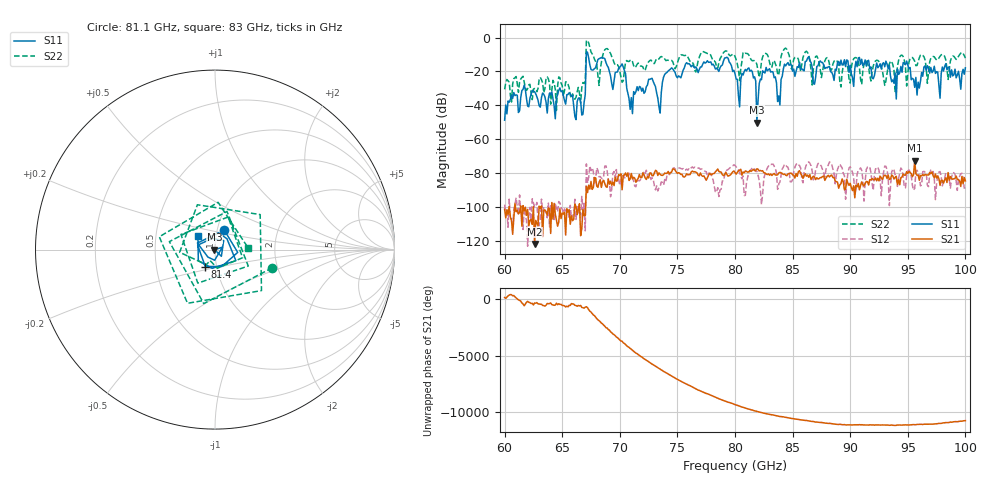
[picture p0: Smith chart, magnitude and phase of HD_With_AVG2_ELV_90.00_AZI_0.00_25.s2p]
! 11/25/2026 10:22:29 AM
! C:\ANRITSUVNA\TEMP\TEMP.S2P
! CHANNEL.1
! TR.MEASUREMENT
! RAW.DATA
# HZ S RI R 50.0
! FREQ.HZ  S11RE  S11IM  S21RE  S21IM  S12RE  S12IM  S22RE  S22IM
!; PortSelection: Port_12
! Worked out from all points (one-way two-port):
!   401 points, 60 GHz to 100 GHz, reference 50 ohm
!   highest |S21| = -72.68 dB at 95.6 GHz (marker M1); lowest = -121.7 dB at 62.6 GHz (marker M2)
!   lowest |S11| = -50.1 dB at 81.9 GHz (marker M3), VSWR 1.01, Z = 49.7 + j0.0194 ohm
!   |S11| at or under -10 dB: start of sweep to 67.09 GHz; 67.24 GHz to end of sweep
!   |S22| runs from -42.9 to -1.7 dB; largest |S21 - S12| = 0.00029
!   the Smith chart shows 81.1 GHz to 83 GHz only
!   S11 on the Smith chart (normalised r, x): 81.1 GHz: 1.08, +0.24; 81.4 GHz: 0.88, -0.17; 83 GHz: 0.82, +0.12
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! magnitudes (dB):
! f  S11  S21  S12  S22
! 60 GHz  -48.7  -101.2  -98.5  -30.5
! 62.6 GHz  -31.8  -121.7  -99.9  -30.0
! 66.7 GHz  -45.7  -112.6  -93.7  -29.5
! 67.3 GHz  -12.1  -87.0  -82.3  -3.2
! 68.4 GHz  -11.8  -88.3  -82.9  -14.7
! 68.9 GHz  -16.5  -88.3  -78.5  -6.5
! 70.3 GHz  -17.5  -81.4  -81.2  -25.5
! 70.9 GHz  -42.3  -83.5  -81.3  -13.5
! 72.7 GHz  -24.3  -79.8  -83.7  -13.3
! 73.4 GHz  -40.8  -79.8  -88.7  -12.6
! 74.4 GHz  -18.6  -79.7  -80.0  -13.4
! 80 GHz  -21.3  -79.5  -75.4  -11.1
! 81.1 GHz  -18.4  -79.4  -82.3  -9.5
! 81.4 GHz  -19.3  -78.9  -77.7  -13.0
! 81.9 GHz  -50.1  -77.4  -78.8  -15.9
! 83 GHz  -18.4  -81.1  -74.8  -14.6
! 83.8 GHz  -34.4  -79.8  -86.3  -22.3
! 84.4 GHz  -16.7  -81.2  -75.2  -6.2
! 86.7 GHz  -17.5  -82.7  -78.7  -28.0
! 93.4 GHz  -16.3  -83.7  -99.1  -15.6
! 95.6 GHz  -29.4  -72.7  -88.9  -13.9
! 100 GHz  -17.8  -84.5  -88.6  -12.1
